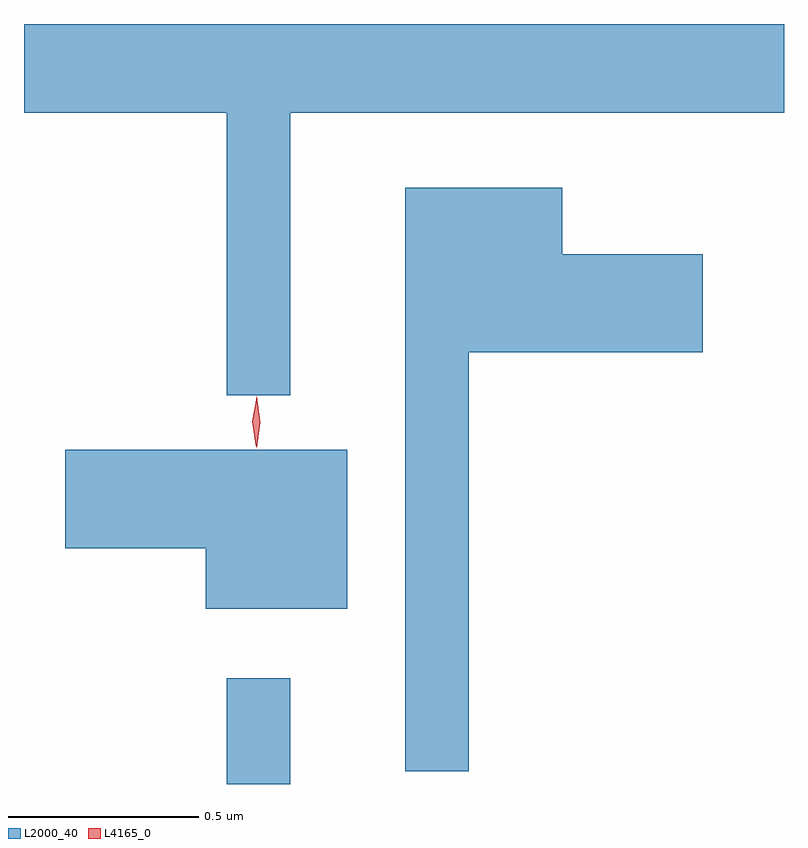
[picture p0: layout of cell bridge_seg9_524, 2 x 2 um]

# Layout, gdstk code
import gdstk
lib = gdstk.Library(unit=1e-6, precision=1e-09)
def R(c, l, rs):  # rectangles x0, y0, x1, y1
    for r in rs: c.add(gdstk.rectangle(r[:2], r[2:], *l))
def P(c, l, *ps):  # polygons
    for p in ps: c.add(gdstk.Polygon(p, *l))
L2000_40 = (2000, 40)
L4165_0 = (4165, 0)

bridge_seg9_524 = lib.new_cell('bridge_seg9_524')
R(bridge_seg9_524, L2000_40, [(600.521,1947.87,600.689,1948.148)])
P(bridge_seg9_524, L2000_40, [(600.689,1949.636),(601.988,1949.636),(601.988,1949.87),(599.988,1949.87),(599.988,1949.636),(600.521,1949.636),(600.521,1948.893),(600.689,1948.893)],
  [(601.159,1949.006),(601.774,1949.006),(601.774,1949.264),(601.404,1949.264),(601.404,1949.439),(600.991,1949.439),(600.991,1947.903),(601.159,1947.903)],
  [(600.839,1948.749),(600.096,1948.749),(600.096,1948.491),(600.466,1948.491),(600.466,1948.331),(600.839,1948.331)])
P(bridge_seg9_524, L4165_0, [(600.6,1948.754),(600.6,1948.754),(600.59,1948.822),(600.6,1948.89),(600.6,1948.89),(600.601,1948.89),(600.61,1948.822),(600.601,1948.754)],
  [(600.598,1948.76),(600.598,1948.761),(600.589,1948.824),(600.6,1948.886),(600.6,1948.887),(600.601,1948.886),(600.609,1948.823),(600.599,1948.761)])

lib.write_gds('bridge_seg9_524.gds')
